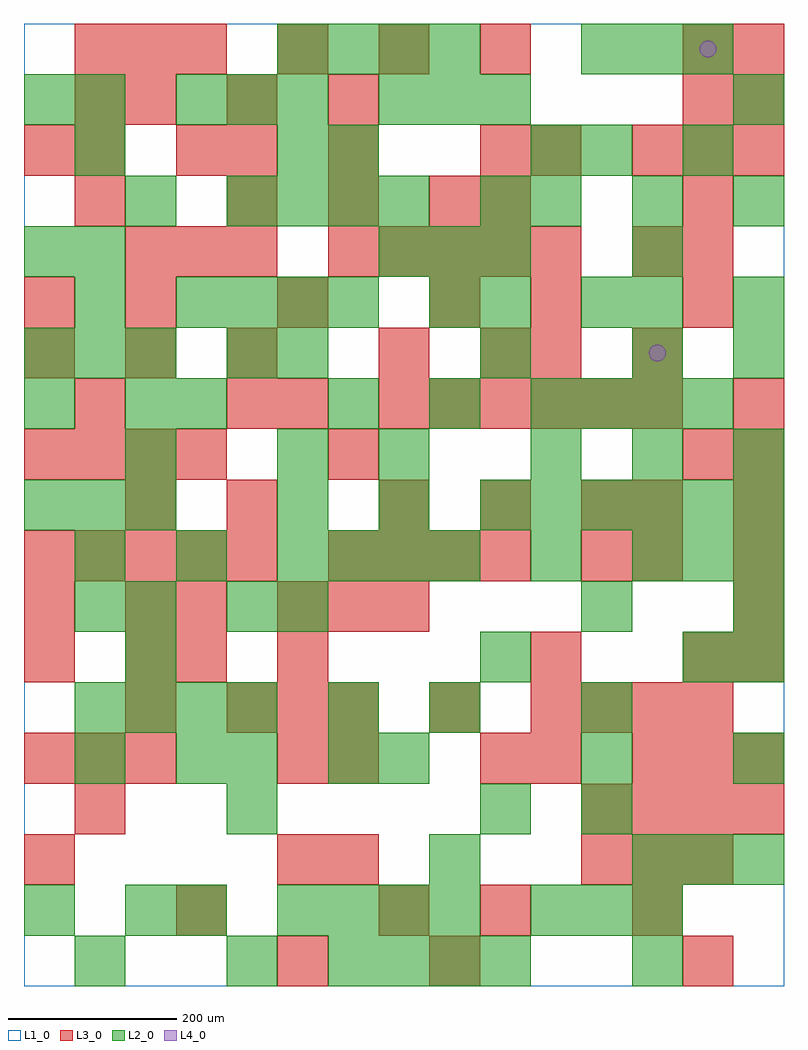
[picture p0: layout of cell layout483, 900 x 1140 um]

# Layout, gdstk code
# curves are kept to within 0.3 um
import gdstk
lib = gdstk.Library(unit=1e-6, precision=1e-09)
def R(c, l, rs):  # rectangles x0, y0, x1, y1
    for r in rs: c.add(gdstk.rectangle(r[:2], r[2:], *l))
def A(c, l, x, y, w, h, nx, ny, dx, dy):  # array of equal rectangles
    R(c, l, [(x+i*dx, y+j*dy, x+i*dx+w, y+j*dy+h) for i in range(nx) for j in range(ny)])
def P(c, l, *ps):  # polygons
    for p in ps: c.add(gdstk.Polygon(p, *l))
L1_0 = (1, 0)
L2_0 = (2, 0)
L3_0 = (3, 0)
L4_0 = (4, 0)

layout483 = lib.new_cell('layout483')
R(layout483, L1_0, [(0,0,900,1140)])
A(layout483, L2_0, 360, 0, 60, 60, 4, 1, 60, 0)
A(layout483, L2_0, 300, 60, 60, 60, 4, 2, 60, 1020)
A(layout483, L2_0, 600, 60, 60, 60, 3, 1, 60, 0)
A(layout483, L2_0, 720, 120, 60, 60, 3, 2, 60, 360)
A(layout483, L2_0, 660, 180, 60, 60, 1, 3, 0, 60)
A(layout483, L2_0, 60, 300, 60, 60, 4, 1, 60, 0)
A(layout483, L2_0, 60, 480, 60, 60, 3, 1, 120, 0)
A(layout483, L2_0, 360, 480, 60, 60, 3, 1, 60, 0)
A(layout483, L2_0, 0, 540, 60, 60, 3, 2, 60, 180)
A(layout483, L2_0, 300, 540, 60, 60, 3, 1, 120, 0)
A(layout483, L2_0, 600, 540, 60, 60, 5, 1, 60, 0)
A(layout483, L2_0, 600, 600, 60, 60, 3, 2, 120, 300)
A(layout483, L2_0, 0, 660, 60, 60, 1, 3, 0, 180)
A(layout483, L2_0, 360, 660, 60, 60, 3, 1, 120, 0)
A(layout483, L2_0, 660, 660, 60, 60, 3, 2, 60, 420)
A(layout483, L2_0, 720, 720, 60, 60, 1, 3, 0, 60)
A(layout483, L2_0, 180, 780, 60, 60, 4, 1, 60, 0)
A(layout483, L2_0, 420, 840, 60, 60, 3, 2, 60, 180)
A(layout483, L2_0, 240, 900, 60, 60, 4, 1, 60, 0)
A(layout483, L2_0, 180, 1020, 60, 60, 3, 1, 60, 0)
R(layout483, L2_0, [(60,0,120,60), (240,0,300,60), (720,0,780,60), (0,60,60,120), (120,60,180,120), (180,60,240,120), (480,120,540,180), (240,180,300,240), (540,180,600,240), (60,240,120,300), (180,240,240,300), (240,240,300,300), (360,240,420,300), (420,240,480,300), (840,240,900,300), (360,300,420,360), (480,300,540,360), (120,360,180,420), (540,360,600,420), (780,360,840,420), (840,360,900,420), (60,420,120,480), (120,420,180,480), (240,420,300,480), (300,420,360,480), (660,420,720,480), (840,420,900,480), (600,480,660,540), (120,600,180,660), (300,600,360,660), (420,600,480,660), (120,660,180,720), (180,660,240,720), (240,720,300,780), (300,720,360,780), (540,720,600,780), (840,720,900,780), (60,780,120,840), (480,780,540,840), (540,780,600,840), (660,780,720,840), (840,780,900,840), (60,840,120,900), (120,900,180,960), (540,900,600,960), (60,960,120,1020), (300,960,360,1020), (360,960,420,1020), (600,960,660,1020), (660,960,720,1020), (780,960,840,1020), (60,1020,120,1080), (840,1020,900,1080)])
A(layout483, L3_0, 300, 0, 60, 60, 1, 4, 0, 120)
A(layout483, L3_0, 660, 120, 60, 60, 3, 1, 60, 0)
A(layout483, L3_0, 660, 180, 60, 60, 4, 1, 60, 0)
A(layout483, L3_0, 0, 240, 60, 60, 3, 1, 60, 0)
A(layout483, L3_0, 360, 240, 60, 60, 1, 3, 0, 360)
A(layout483, L3_0, 720, 240, 60, 60, 3, 2, 60, 720)
A(layout483, L3_0, 120, 300, 60, 60, 1, 3, 0, 60)
A(layout483, L3_0, 240, 300, 60, 60, 3, 1, 60, 0)
A(layout483, L3_0, 600, 300, 60, 60, 4, 1, 60, 0)
A(layout483, L3_0, 840, 360, 60, 60, 1, 6, 0, 60)
A(layout483, L3_0, 300, 420, 60, 60, 3, 1, 60, 0)
A(layout483, L3_0, 0, 480, 60, 60, 5, 1, 60, 0)
A(layout483, L3_0, 360, 480, 60, 60, 4, 1, 60, 0)
A(layout483, L3_0, 420, 540, 60, 60, 3, 1, 120, 0)
A(layout483, L3_0, 0, 600, 60, 60, 4, 1, 60, 0)
A(layout483, L3_0, 420, 660, 60, 60, 6, 1, 60, 0)
A(layout483, L3_0, 0, 720, 60, 60, 3, 1, 120, 0)
A(layout483, L3_0, 120, 780, 60, 60, 3, 1, 180, 0)
A(layout483, L3_0, 780, 780, 60, 60, 1, 3, 0, 60)
A(layout483, L3_0, 120, 840, 60, 60, 3, 1, 60, 0)
A(layout483, L3_0, 360, 840, 60, 60, 5, 1, 60, 0)
A(layout483, L3_0, 60, 900, 60, 60, 1, 3, 0, 60)
A(layout483, L3_0, 240, 900, 60, 60, 3, 1, 120, 0)
A(layout483, L3_0, 120, 1020, 60, 60, 3, 1, 120, 0)
A(layout483, L3_0, 60, 1080, 60, 60, 3, 1, 60, 0)
A(layout483, L3_0, 300, 1080, 60, 60, 3, 1, 120, 0)
R(layout483, L3_0, [(480,0,540,60), (780,0,840,60), (180,60,240,120), (420,60,480,120), (540,60,600,120), (720,60,780,120), (0,120,60,180), (360,120,420,180), (60,180,120,240), (540,240,600,300), (600,240,660,300), (480,300,540,360), (0,360,60,420), (180,360,240,420), (600,360,660,420), (780,360,840,420), (0,420,60,480), (180,420,240,480), (660,480,720,540), (720,480,780,540), (120,540,180,600), (240,540,300,600), (720,540,780,600), (780,600,840,660), (60,660,120,720), (240,660,300,720), (300,660,360,720), (420,720,480,780), (540,720,600,780), (600,720,660,780), (720,720,780,780), (0,780,60,840), (600,780,660,840), (720,840,780,900), (540,900,600,960), (0,960,60,1020), (180,960,240,1020), (240,960,300,1020), (540,960,600,1020), (600,960,660,1020), (780,1020,840,1080), (840,1020,900,1080), (780,1080,840,1140), (840,1080,900,1140)])
P(layout483, L4_0, [(760,750),(759.239,753.827),(757.071,757.071),(753.827,759.239),(750,760),(746.173,759.239),(742.929,757.071),(740.761,753.827),(740,750),(740.761,746.173),(742.929,742.929),(746.173,740.761),(750,740),(753.827,740.761),(757.071,742.929),(759.239,746.173)],
  [(820,1110),(819.239,1113.827),(817.071,1117.071),(813.827,1119.239),(810,1120),(806.173,1119.239),(802.929,1117.071),(800.761,1113.827),(800,1110),(800.761,1106.173),(802.929,1102.929),(806.173,1100.761),(810,1100),(813.827,1100.761),(817.071,1102.929),(819.239,1106.173)])

lib.write_gds('layout483.gds')
